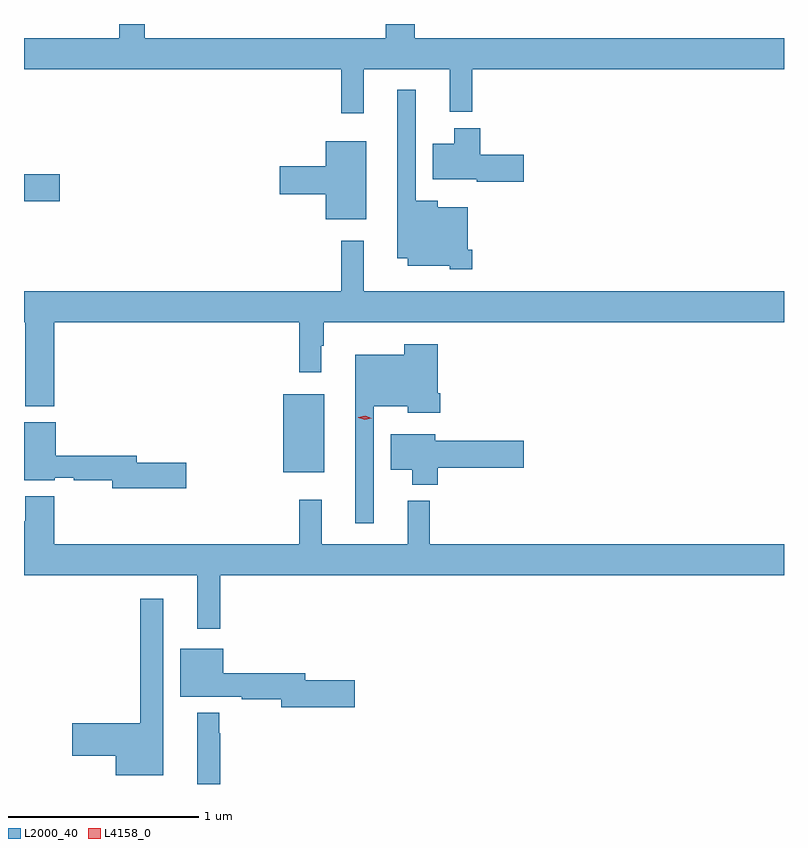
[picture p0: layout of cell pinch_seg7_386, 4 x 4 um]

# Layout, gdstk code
import gdstk
lib = gdstk.Library(unit=1e-6, precision=1e-09)
def R(c, l, rs):  # rectangles x0, y0, x1, y1
    for r in rs: c.add(gdstk.rectangle(r[:2], r[2:], *l))
def P(c, l, *ps):  # polygons
    for p in ps: c.add(gdstk.Polygon(p, *l))
L2000_40 = (2000, 40)
L4158_0 = (4158, 0)

pinch_seg7_386 = lib.new_cell('pinch_seg7_386')
R(pinch_seg7_386, L2000_40, [(517.448,1030.463,517.663,1030.873), (516.083,1031.89,516.27,1032.032)])
P(pinch_seg7_386, L2000_40, [(517.871,1032.584),(518.324,1032.584),(518.324,1032.359),(518.441,1032.359),(518.441,1032.584),(520.083,1032.584),(520.083,1032.748),(518.14,1032.748),(518.14,1032.822),(517.988,1032.822),(517.988,1032.748),(516.719,1032.748),(516.719,1032.822),(516.583,1032.822),(516.583,1032.748),(516.083,1032.748),(516.083,1032.584),(517.753,1032.584),(517.753,1032.351),(517.871,1032.351)],
  [(518.441,1031.635),(518.419,1031.635),(518.419,1031.857),(518.26,1031.857),(518.26,1031.893),(518.145,1031.893),(518.145,1032.475),(518.048,1032.475),(518.048,1031.588),(518.102,1031.588),(518.102,1031.549),(518.325,1031.549),(518.325,1031.531),(518.441,1031.531)],
  [(518.713,1032.135),(518.483,1032.135),(518.483,1032.274),(518.348,1032.274),(518.348,1032.193),(518.234,1032.193),(518.234,1032.005),(518.466,1032.005),(518.466,1031.993),(518.713,1031.993)],
  [(517.885,1032.205),(517.67,1032.205),(517.67,1032.074),(517.428,1032.074),(517.428,1031.927),(517.67,1031.927),(517.67,1031.795),(517.885,1031.795)],
  [(516.242,1031.252),(517.531,1031.252),(517.531,1030.989),(517.648,1030.989),(517.648,1031.129),(517.66,1031.129),(517.66,1031.252),(520.083,1031.252),(520.083,1031.416),(517.871,1031.416),(517.871,1031.68),(517.753,1031.68),(517.753,1031.416),(516.083,1031.416),(516.083,1031.252),(516.089,1031.252),(516.089,1030.811),(516.242,1030.811)],
  [(517.923,1030.811),(518.102,1030.811),(518.102,1030.775),(518.273,1030.775),(518.273,1030.879),(518.26,1030.879),(518.26,1031.137),(518.085,1031.137),(518.085,1031.08),(517.826,1031.08),(517.826,1030.194),(517.923,1030.194)],
  [(516.937,1030.514),(516.676,1030.514),(516.676,1030.55),(516.25,1030.55),(516.25,1030.726),(516.083,1030.726),(516.083,1030.421),(516.246,1030.421),(516.246,1030.434),(516.346,1030.434),(516.346,1030.422),(516.548,1030.422),(516.548,1030.379),(516.937,1030.379)],
  [(518.261,1030.486),(518.713,1030.486),(518.713,1030.628),(518.248,1030.628),(518.248,1030.663),(518.012,1030.663),(518.012,1030.475),(518.126,1030.475),(518.126,1030.397),(518.261,1030.397)],
  [(517.117,1029.92),(520.083,1029.92),(520.083,1030.084),(518.219,1030.084),(518.219,1030.312),(518.102,1030.312),(518.102,1030.084),(517.649,1030.084),(517.649,1030.318),(517.531,1030.318),(517.531,1030.084),(516.242,1030.084),(516.242,1030.336),(516.089,1030.336),(516.089,1030.205),(516.083,1030.205),(516.083,1029.92),(516.995,1029.92),(516.995,1029.639),(517.117,1029.639)],
  [(516.817,1029.796),(516.696,1029.796),(516.696,1029.143),(516.336,1029.143),(516.336,1028.972),(516.566,1028.972),(516.566,1028.867),(516.817,1028.867)],
  [(517.825,1029.368),(517.564,1029.368),(517.564,1029.404),(517.132,1029.404),(517.132,1029.535),(516.905,1029.535),(516.905,1029.281),(517.228,1029.281),(517.228,1029.268),(517.436,1029.268),(517.436,1029.226),(517.825,1029.226)],
  [(517.117,1029.089),(517.11,1029.089),(517.11,1029.196),(516.995,1029.196),(516.995,1028.822),(517.117,1028.822)])
P(pinch_seg7_386, L4158_0, [(517.877,1030.739),(517.842,1030.75),(517.842,1030.75),(517.842,1030.751),(517.878,1030.759),(517.912,1030.747),(517.913,1030.747),(517.912,1030.747)])

lib.write_gds('pinch_seg7_386.gds')
